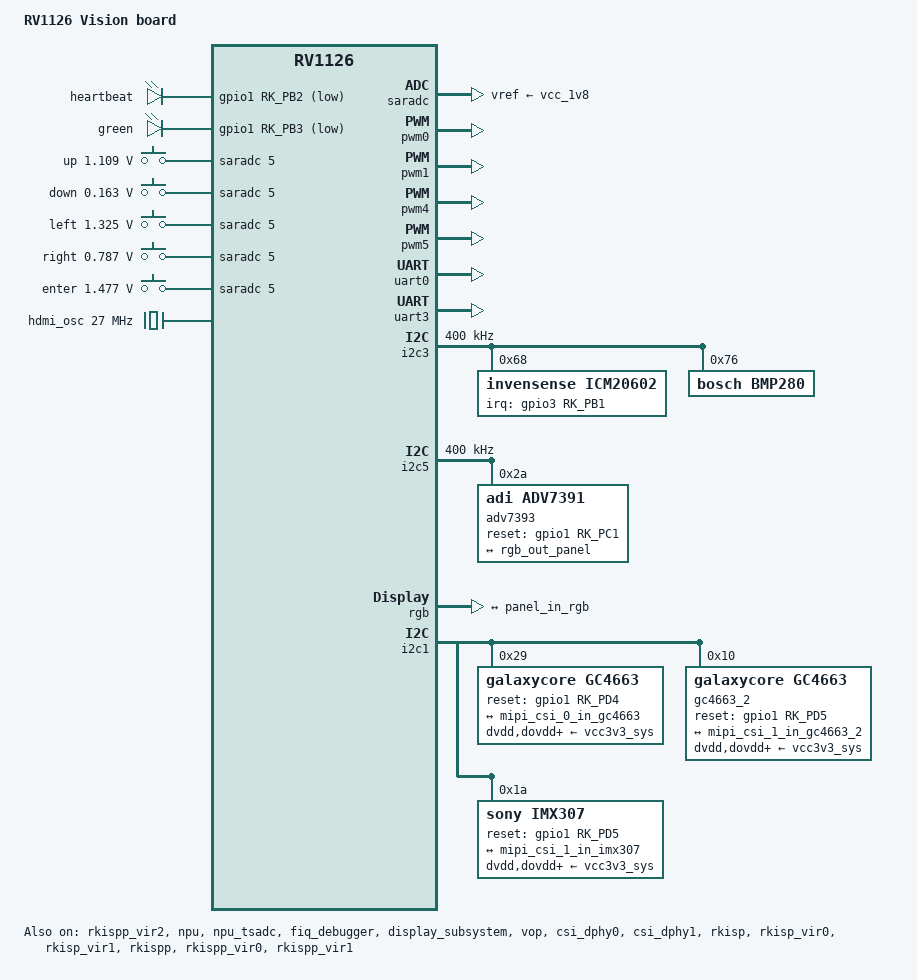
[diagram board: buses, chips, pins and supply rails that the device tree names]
// SPDX-License-Identifier: (GPL-2.0+ OR MIT)
/*
 * Copyright (c) 2020 Rockchip Electronics Co., Ltd.
 */
/dts-v1/;
#include "rv1126.dtsi"
#include "rv1126-vision-board-def.dtsi"
#include <dt-bindings/display/media-bus-format.h>


/ {
	model = "RV1126 Vision board";
	compatible = "rockchip,rv1126-evb-ddr3-v13", "rockchip,rv1126";

	chosen {
		bootargs = "earlycon=uart8250,mmio32,0xff570000 console=ttyFIQ0 root=PARTUUID=614e0000-0000 rootfstype=ext4 rw rootwait snd_aloop.index=7";
	};

	leds {
		compatible = "gpio-leds";
		led_stat {
			gpios = <&gpio1 RK_PB2 GPIO_ACTIVE_LOW>;
			label = "heartbeat";
			default-state = "off";
			linux,default-trigger = "heartbeat";
		};
		led_act {
			gpios = <&gpio1 RK_PB3 GPIO_ACTIVE_LOW>;
			label = "green";
			default-state = "off";
		};
	};

	// OSD pads for connect joystick
	adc_keys: adc-keys
	{
		compatible = "adc-keys";
		io-channels = <&saradc 5>;
		io-channel-names = "buttons";
		keyup-threshold-microvolt = <1800000>;
		poll-interval = <100>;

		up-key {
			label = "up";
			linux,code = <KEY_UP>;
			press-threshold-microvolt = <1109000>;
		};

		down-key {
			label = "down";
			linux,code = <KEY_DOWN>;
			press-threshold-microvolt = <163000>;
		};

		left-key {
			label = "left";
			linux,code = <KEY_LEFT>;
			press-threshold-microvolt = <1325000>;
		};

		right-key {
			label = "right";
			linux,code = <KEY_RIGHT>;
			press-threshold-microvolt = <787000>;
		};

		enter-key {
			label = "enter";
			linux,code = <KEY_ENTER>;
			press-threshold-microvolt = <1477000>;
		};
	};
	
	hdmi_osc: hdmi-osc {
		compatible = "fixed-clock";
		clock-output-names = "hdmi-osc";
		clock-frequency = <27000000>;
		#clock-cells = <0>;
	};

};

&saradc {
	status = "okay";
	vref-supply = <&vcc_1v8>;
};

// PWM outputs 
&pwm0 {
	status = "okay";
};

&pwm1 {
	status = "okay";
};

&pwm4 {
	status = "okay";
};

&pwm5 {
	status = "okay";
};

&uart0 {
	/delete-property/ pinctrl-0;
	pinctrl-0 = <&uart0_xfer>;
	dma-names = "tx","rx";
	status = "okay";
};

&uart3 {
	/delete-property/ pinctrl-0;
	pinctrl-0 = <&uart3m2_xfer>;
	dma-names = "tx","rx";
	status = "okay";
};

&isp_reserved {
	//size = <0x6000000>;
	//size = <0x10000000>;//256M and need 4M align
	size = <0xA000000>;
};

&rkispp_vir2 {
       status = "okay";
};

&npu {
	npu-supply = <&vdd_npu_vepu>;
	status = "okay";
};

&npu_tsadc {
	status = "okay";
};


&fiq_debugger {
	status = "okay";
	rockchip,baudrate = <115200>;
};

&i2c3 {
	/delete-property/ pinctrl-0;
	status = "okay";
	clock-frequency = <400000>;
	pinctrl-0 = <&i2c3m0_xfer>;

	// TODO: need to check address 
	icm20602@68 {
		status = "okay";
		compatible = "invensense,icm20602";
		reg = <0x68>;
		irq-gpio = <&gpio3 RK_PB1 IRQ_TYPE_EDGE_RISING>;
		mpu-debug = <1>;
	};

	// TODO: need to check address 
	bmp280: pressure@76 {
		compatible = "bosch,bmp280";
		reg = <0x76>;
	};

	// TODO: need to debug tc358743 chip
	// tc358743@f {
	// 	compatible = "toshiba,tc358743";
	// 	reg = <0x0f>;
	// 	clocks = <&hdmi_osc>;
	// 	clock-names = "refclk";
	// 	pinctrl-names = "rockchip,camera_default";
	// 	// reset-gpios = <&gpio6 9 GPIO_ACTIVE_LOW>;
	// 	//reset-gpios = <&gpio3 RK_PA6 GPIO_ACTIVE_HIGH>;
	// 	// interrupt-parent = <&gpio2>;
	// 	// interrupts = <5 IRQ_TYPE_LEVEL_HIGH>;
	// 	rockchip,camera-module-index = <1>;
	// 	rockchip,camera-module-facing = "front";
	// 	rockchip,camera-module-name = "TRC-2232A6";
	// 	rockchip,camera-module-lens-name = "28IRC-4M-F22-v1.0x23";

	// 	port {
	// 		tc358743_out: endpoint {
	// 			remote-endpoint = <&tc358743_out_in>;
	// 			data-lanes = <1 2 3 4>;
	// 			clock-lanes = <0>;
	// 			clock-noncontinuous;
	// 			link-frequencies = /bits/ 64 <297000000>;
	// 		};
	// 	};
	// };

};


&i2c5 {
	/delete-property/ pinctrl-0;
	status = "okay";
	clock-frequency = <400000>;
	pinctrl-0 = <&i2c5m2_xfer>;

	adv7393: adv7393@2a {
		compatible = "adi,adv7391";
		reset-gpios = <&gpio1 RK_PC1 GPIO_ACTIVE_HIGH>;
		reg = <0x2a>;

		ports {
			#address-cells = <1>;
			#size-cells = <0>;
			tve_in: port@0 {
				reg = <0>;
				panel_in_rgb: endpoint {
					remote-endpoint = <&rgb_out_panel>;
				};
			};
		};
	};

};

&display_subsystem {
	status = "okay";
};

&rgb {
	status = "okay";
	pinctrl-names = "default";
	pinctrl-0 = <&lcdc_ctl>;

	ports {
		port@1 {
			reg = <1>;
			#address-cells = <1>;
			#size-cells = <0>;

			rgb_out_panel: endpoint@1 {
				reg = <1>;
				remote-endpoint = <&panel_in_rgb>;
			};
		};
	};
};

&vop{
	status = "okay";
};

&vop_mmu{
	status = "okay";
};

&i2c1 {

	gc4663: gc4663@29 {
		reg = <0x29>;
		compatible = "galaxycore,gc4663";
		rockchip,camera-module-index = <1>;
		rockchip,camera-module-facing = "front";
		clock-names = "xvclk";
		pinctrl-names = "rockchip,camera_default";

		pinctrl-0 = <&mipicsi_clk0>;
	
		power-domains = <&power RV1126_PD_VI>;
		dvdd-supply = <&vcc3v3_sys>;
		dovdd-supply = <&vcc3v3_sys>;
		avdd-supply = <&vcc3v3_sys>;
		clocks = <&cru CLK_MIPICSI_OUT>;
		reset-gpios = <&gpio1 RK_PD4 GPIO_ACTIVE_HIGH>;
		rockchip,camera-module-name = "TRC-2232A6";
		rockchip,camera-module-lens-name = "28IRC-4M-F22-v1.0x23";

		port {
			mipi_csi_0_out_gc4663: endpoint {
				remote-endpoint = <&mipi_csi_0_in_gc4663>;
				data-lanes = <1 2>;
			};
		};
	};

	// imx219: imx219@10 {
	// 	compatible = "sony,imx219";
	// 	reg = <0x10>;
	// 	clocks = <&cru CLK_MIPICSI_OUT>;
	// 	clock-names = "xvclk";
	// 	power-domains = <&power RV1126_PD_VI>;
	// 	pinctrl-names = "rockchip,camera_default";
	// 	pinctrl-0 = <&mipicsi_clk1>;
	// 	avdd-supply = <&vcc3v3_sys>;
	// 	dovdd-supply = <&vcc3v3_sys>;
	// 	dvdd-supply = <&vcc3v3_sys>;
	// 	// reset-gpios = <&gpio1 RK_PD5 GPIO_ACTIVE_HIGH>;
	// 	pwd-gpios = <&gpio2 RK_PA1 GPIO_ACTIVE_HIGH>;
	// 	rockchip,camera-module-index = <1>;
	// 	rockchip,camera-module-facing = "front";
	// 	rockchip,camera-module-name = "YT10092";
	// 	rockchip,camera-module-lens-name = "IR0147-28IRC-8M-F20";

	// 	port {
	// 		mipi_out_imx219: endpoint {
	// 			remote-endpoint = <&mipi_in_imx219>;
	// 			data-lanes = <1 2>;
	// 		};
	// 	};
	// };

	gc4663_2: gc4663_2@10 {
		reg = <0x10>;
		compatible = "galaxycore,gc4663";
		rockchip,camera-module-index = <2>;
		rockchip,camera-module-facing = "back";
		clock-names = "xvclk";
		pinctrl-names = "rockchip,camera_default";

		pinctrl-0 = <&mipicsi_clk1>;
	
		power-domains = <&power RV1126_PD_VI>;
		dvdd-supply = <&vcc3v3_sys>;
		dovdd-supply = <&vcc3v3_sys>;
		avdd-supply = <&vcc3v3_sys>;
		clocks = <&cru CLK_MIPICSI_OUT>;
		reset-gpios = <&gpio1 RK_PD5 GPIO_ACTIVE_HIGH>;
		rockchip,camera-module-name = "TRC-2232A6";
		rockchip,camera-module-lens-name = "28IRC-4M-F22-v1.0x23";

		port {
			mipi_csi_1_out_gc4663_2: endpoint {
				remote-endpoint = <&mipi_csi_1_in_gc4663_2>;
				data-lanes = <1 2>; // used 2 lanes
			};
		};
	};

	imx307: imx307@1a {
		compatible = "sony,imx307";
		status = "okay";
		rockchip,camera-module-index = <1>;
		reg = <0x1a>;
		clocks = <&cru CLK_MIPICSI_OUT>;
		clock-names = "xvclk";
		power-domains = <&power RV1126_PD_VI>;
		pinctrl-names = "rockchip,camera_default";
		pinctrl-0 = <&mipicsi_clk1>;
		dvdd-supply = <&vcc3v3_sys>;
		dovdd-supply = <&vcc3v3_sys>;
		avdd-supply = <&vcc3v3_sys>;
		reset-gpios = <&gpio1 RK_PD5 GPIO_ACTIVE_HIGH>;
		rockchip,camera-module-facing = "front";
		rockchip,camera-module-name = "MTV4-IR-E-P";
		rockchip,camera-module-lens-name = "40IRC-4MP-F16";
		port {
			mipi_csi_1_out_imx307: endpoint {
				remote-endpoint = <&mipi_csi_1_in_imx307>;
				data-lanes = <1 2 3 4>; // 4 lanes
			};
		};
	};

};


&csi_dphy0 {
	status = "okay";
	ports {
		#address-cells = <1>;
		#size-cells = <0>;
		port@0 {
			reg = <0>;
			#address-cells = <1>;
			#size-cells = <0>;
			mipi_csi_0_in_gc4663: endpoint@0 {
				reg = <0>;
				// The port name of the sensor
				remote-endpoint = <&mipi_csi_0_out_gc4663>;
				data-lanes = <1 2>;
			};

			// TODO: need to debug tc358743 chip
			// tc358743_out_in: endpoint@1 {
			// 	reg = <1>;
			// 	// The port name of the sensor
			// 	remote-endpoint = <&tc358743_out>;
			// 	// mipi lane number，1lane is <1>, 4lane is <1 2 3 4>
			// 	data-lanes = <1 2 3 4>;
			// };
		};
		port@1 {
			reg = <1>;
			#address-cells = <1>;
			#size-cells = <0>;
			csidphy0_out: endpoint@0 {
				reg = <0>;
				// name of isp port
				remote-endpoint = <&isp_in>;
			};
		};
	};
};

&csi_dphy1 {
	status = "okay";
	ports {
		#address-cells = <1>;
		#size-cells = <0>;
		port@0 {
			reg = <0>;
			#address-cells = <1>;
			#size-cells = <0>;
			mipi_csi_1_in_gc4663_2: endpoint@0 {
				reg = <0>;
				// The port name of the sensor
				remote-endpoint = <&mipi_csi_1_out_gc4663_2>;
				data-lanes = <1 2>; // used 2 lanes
			};

			mipi_csi_1_in_imx307: endpoint@1 {
				reg = <1>;
				// The port name of the sensor
				remote-endpoint = <&mipi_csi_1_out_imx307>;
				data-lanes = <1 2 3 4>; // used 4 lanes
			};
		};
		port@1 {
			reg = <1>;
			#address-cells = <1>;
			#size-cells = <0>;
			csidphy1_out: endpoint@0 {
				reg = <0>;
				// name of isp port
				remote-endpoint = <&isp1_in>;
			};
		};
	};
};

&rkisp_mmu{
	//status = "okay";
	status = "disabled";
};

&rkisp {
	status = "okay";
	/delete-property/ memory-region;
	memory-region = <&isp_reserved>;
	//iommus = <&rkisp_mmu>;
};

&rkisp_vir0 {
	status = "okay";
//	wait-line = <720>;
	ports {
		#address-cells = <1>;
		#size-cells = <0>;
		port@0 {
			reg = <0>;
			#address-cells = <1>;
			#size-cells = <0>;
			isp_in: endpoint@0 {
				reg = <0>;
				// name of mipi dphy port
				remote-endpoint = <&csidphy0_out>;
			};
		};
		port@1 {
			reg = <1>;
			#address-cells = <1>;
			#size-cells = <0>;
			isp0_out: endpoint@1 {
				reg = <1>;
				// ispp port name, isp output to ispp
				remote-endpoint = <&ispp0_in>;
				};
		};
	};
};

&rkisp_vir1 {
	status = "okay";
//	wait-line = <720>;
	ports {
		#address-cells = <1>;
		#size-cells = <0>;
		port@0 {
			reg = <0>;
			#address-cells = <1>;
			#size-cells = <0>;
			isp1_in: endpoint@0 {
				reg = <0>;
				// name of mipi dphy port
				remote-endpoint = <&csidphy1_out>;
			};
		};
		port@1 {
			reg = <1>;
			#address-cells = <1>;
			#size-cells = <0>;
			isp1_out: endpoint@1 {
				reg = <1>;
				// ispp port name, isp output to ispp
				remote-endpoint = <&ispp1_in>;
				};
		};
	};
};

&rkispp_mmu{
	//status = "okay";
	status = "disabled";
};

&rkispp {
	memory-region = <&isp_reserved>;
	rockchip,restart-monitor-en;
	status = "okay";
	max-input = <2560 1440 60>;
};

&rkispp_vir0 {
	status = "okay";
//	wait-line = <1280>;
	port {
		#address-cells = <1>;
		#size-cells = <0>;
		Ispp0_in: endpoint@0 {
			reg = <0>;
			// isp port name, ispp input
			remote-endpoint = <&isp0_out>;
		};
	};
};

&rkispp_vir1 {
	status = "okay";
//	wait-line = <1280>;
	port {
		#address-cells = <1>;
		#size-cells = <0>;
		Ispp1_in: endpoint@0 {
			reg = <0>;
			// isp port name, ispp input
			remote-endpoint = <&isp1_out>;
		};
	};
};

